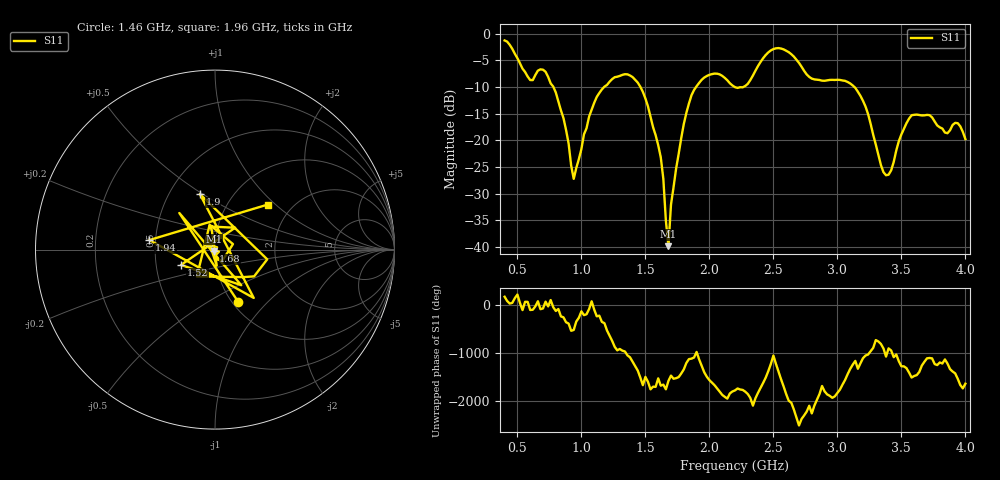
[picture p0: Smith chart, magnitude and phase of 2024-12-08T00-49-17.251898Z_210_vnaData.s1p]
!Created with skrf (http://scikit-rf.org).
# Hz S RI R 50.0
!freq ReS11 ImS11
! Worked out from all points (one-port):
!   181 points, 400 MHz to 4 GHz, reference 50 ohm
!   lowest |S11| = -39.9 dB at 1.68 GHz (marker M1), VSWR 1.02, Z = 49.3 - j0.68 ohm
!   |S11| at or under -10 dB: 781 MHz to 1.178 GHz (396.9 MHz wide, 40.5 % of centre); 1.461 GHz to 1.896 GHz (435.3 MHz wide, 25.9 % of centre); 3.132 GHz to end of sweep (the widest 3 of 4)
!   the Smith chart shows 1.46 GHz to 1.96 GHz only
!   S11 on the Smith chart (normalised r, x): 1.46 GHz: 1.07, -0.69; 1.52 GHz: 0.67, -0.12; 1.68 GHz: 0.99, -0.01; 1.9 GHz: 0.70, +0.49; 1.94 GHz: 0.46, +0.06; 1.96 GHz: 1.52, +0.90
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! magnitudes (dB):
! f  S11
! 400 MHz  -1.3
! 600 MHz  -8.7
! 720 MHz  -7.2
! 860 MHz  -15.9
! 940 MHz  -27.2
! 1.12 GHz  -11.9
! 1.3 GHz  -7.9
! 1.46 GHz  -10.0
! 1.52 GHz  -13.6
! 1.62 GHz  -23.2
! 1.68 GHz  -39.9
! 1.7 GHz  -32.1
! 1.76 GHz  -22.5
! 1.82 GHz  -14.9
! 1.9 GHz  -9.9
! 1.94 GHz  -8.6
! 1.96 GHz  -8.2
! 2.2 GHz  -10.0
! 2.5 GHz  -2.9
! 2.66 GHz  -4.3
! 2.8 GHz  -8.4
! 3.1 GHz  -9.3
! 3.22 GHz  -13.7
! 3.38 GHz  -26.6
! 3.56 GHz  -15.9
! 3.86 GHz  -18.7
! 3.94 GHz  -16.8
! 4 GHz  -19.8
